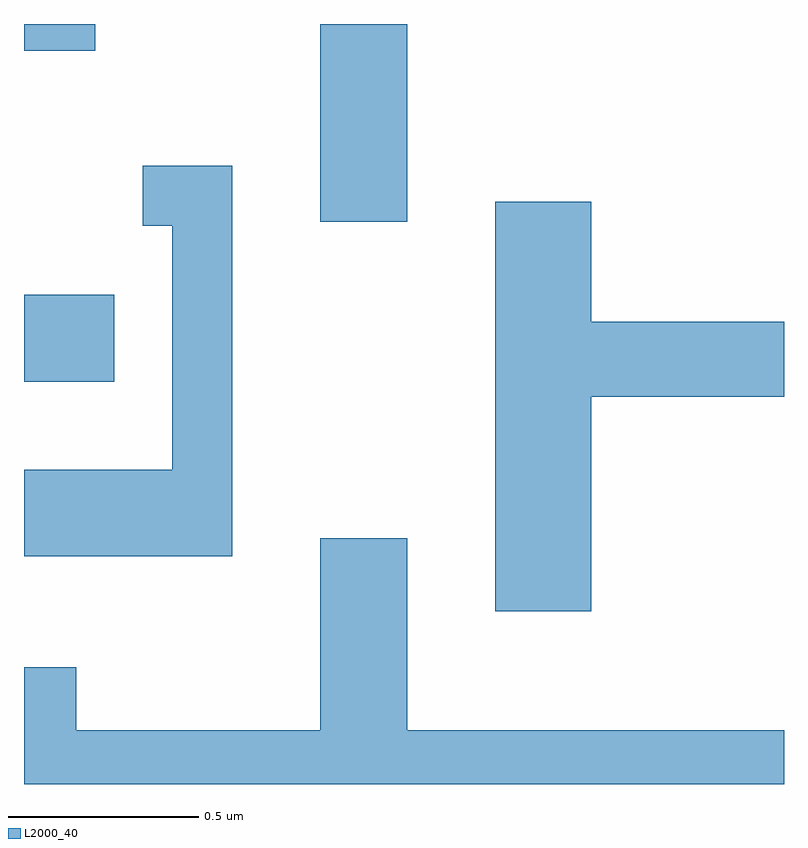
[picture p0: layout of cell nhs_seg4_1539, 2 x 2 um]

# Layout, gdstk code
import gdstk
lib = gdstk.Library(unit=1e-6, precision=1e-09)
def R(c, l, rs):  # rectangles x0, y0, x1, y1
    for r in rs: c.add(gdstk.rectangle(r[:2], r[2:], *l))
def P(c, l, *ps):  # polygons
    for p in ps: c.add(gdstk.Polygon(p, *l))
L2000_40 = (2000, 40)

nhs_seg4_1539 = lib.new_cell('nhs_seg4_1539')
R(nhs_seg4_1539, L2000_40, [(196.611,1287.041,196.849,1287.269), (197.391,1287.461,197.619,1287.982), (196.611,1287.911,196.799,1287.982)])
P(nhs_seg4_1539, L2000_40, [(197.159,1287.609),(196.923,1287.609),(196.923,1287.451),(197.001,1287.451),(197.001,1286.809),(196.611,1286.809),(196.611,1286.581),(197.159,1286.581)],
  [(198.104,1287.001),(198.611,1287.001),(198.611,1287.199),(198.104,1287.199),(198.104,1287.514),(197.851,1287.514),(197.851,1286.436),(198.104,1286.436)],
  [(198.611,1286.124),(197.619,1286.124),(197.619,1286.629),(197.391,1286.629),(197.391,1286.124),(196.749,1286.124),(196.749,1286.289),(196.611,1286.289),(196.611,1285.982),(198.611,1285.982)])

lib.write_gds('nhs_seg4_1539.gds')
